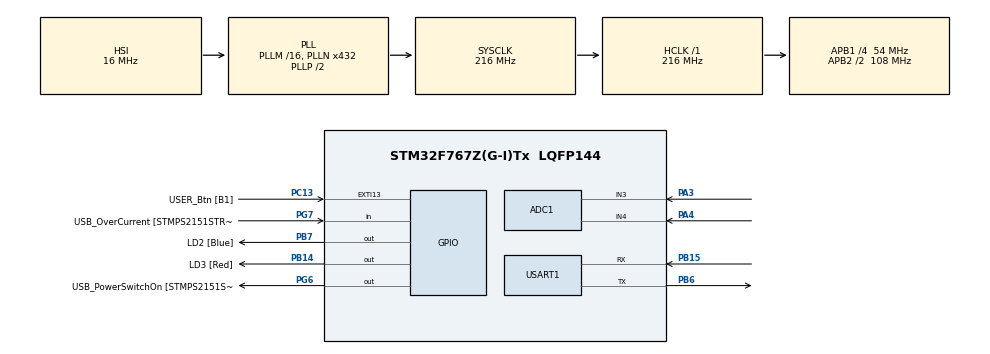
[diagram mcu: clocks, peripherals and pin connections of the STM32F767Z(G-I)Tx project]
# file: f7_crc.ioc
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ADC1.Channel-4\#ChannelRegularConversion=ADC_CHANNEL_3
ADC1.Channel-5\#ChannelRegularConversion=ADC_CHANNEL_4
ADC1.ClockPrescaler=ADC_CLOCK_SYNC_PCLK_DIV8
ADC1.ContinuousConvMode=ENABLE
ADC1.DMAContinuousRequests=ENABLE
ADC1.NbrOfConversion=2
ADC1.NbrOfConversionFlag=1
ADC1.Rank-4\#ChannelRegularConversion=1
ADC1.Rank-5\#ChannelRegularConversion=2
ADC1.SamplingTime-4\#ChannelRegularConversion=ADC_SAMPLETIME_480CYCLES
ADC1.SamplingTime-5\#ChannelRegularConversion=ADC_SAMPLETIME_480CYCLES
ADC1.ScanConvMode=ENABLE
ADC1.master=1
CRC.CRCLength=CRC_POLYLENGTH_8B
CRC.DefaultInitValueUse=DEFAULT_INIT_VALUE_DISABLE
CRC.DefaultPolynomialUse=DEFAULT_POLYNOMIAL_DISABLE
CRC.GeneratingPolynomial=X5+X3+X2+X1+X0
CRC.InitValue=0
Dma.ADC1.0.Direction=DMA_PERIPH_TO_MEMORY
Dma.ADC1.0.FIFOMode=DMA_FIFOMODE_DISABLE
Dma.ADC1.0.Instance=DMA2_Stream0
Dma.ADC1.0.MemDataAlignment=DMA_MDATAALIGN_HALFWORD
Dma.ADC1.0.MemInc=DMA_MINC_ENABLE
Dma.ADC1.0.Mode=DMA_CIRCULAR
Dma.ADC1.0.PeriphDataAlignment=DMA_PDATAALIGN_HALFWORD
Dma.ADC1.0.PeriphInc=DMA_PINC_DISABLE
Dma.ADC1.0.Priority=DMA_PRIORITY_LOW
Dma.Request0=ADC1
Mcu.Family=STM32F7
Mcu.Name=STM32F767Z(G-I)Tx
Mcu.Package=LQFP144
NVIC.DMA2_Stream0_IRQn=true\:0\:0\:false\:false\:true\:true
NVIC.PriorityGroup=NVIC_PRIORITYGROUP_4
NVIC.USART1_IRQn=true\:0\:0\:false\:false\:true\:true
PA1.GPIO_Label=RMII_REF_CLK [LAN8742A-CZ-TR_REFCLK0]
PA1.Signal=ETH_REF_CLK
PA10.GPIO_Label=USB_ID
PA10.Signal=USB_OTG_FS_ID
PA11.GPIO_Label=USB_DM
PA11.Signal=USB_OTG_FS_DM
PA12.GPIO_Label=USB_DP
PA12.Signal=USB_OTG_FS_DP
PA13.GPIO_Label=TMS
PA13.Signal=SYS_JTMS-SWDIO
PA14.GPIO_Label=TCK
PA14.Signal=SYS_JTCK-SWCLK
PA2.GPIO_Label=RMII_MDIO [LAN8742A-CZ-TR_MDIO]
PA2.Signal=ETH_MDIO
PA3.Signal=ADCx_IN3
PA4.Signal=ADCx_IN4
PA7.GPIO_Label=RMII_CRS_DV [LAN8742A-CZ-TR_CRS_DV]
PA7.Signal=ETH_CRS_DV
PA8.GPIO_Label=USB_SOF [TP1]
PA8.Signal=USB_OTG_FS_SOF
PA9.GPIO_Label=USB_VBUS
PA9.Signal=USB_OTG_FS_VBUS
PB13.GPIO_Label=RMII_TXD1 [LAN8742A-CZ-TR_TXD1]
PB13.Signal=ETH_TXD1
PB14.GPIO_Label=LD3 [Red]
PB14.Signal=GPIO_Output
PB15.Mode=Asynchronous
PB15.Signal=USART1_RX
PB3.GPIO_Label=SW0
PB3.Signal=SYS_JTDO-SWO
PB6.Mode=Asynchronous
PB6.Signal=USART1_TX
PB7.GPIO_Label=LD2 [Blue]
PB7.Signal=GPIO_Output
PC1.GPIO_Label=RMII_MDC [LAN8742A-CZ-TR_MDC]
PC1.Signal=ETH_MDC
PC13.GPIO_Label=USER_Btn [B1]
PC13.Signal=GPXTI13
PC14/OSC32_IN.Signal=RCC_OSC32_IN
PC15/OSC32_OUT.Signal=RCC_OSC32_OUT
PC4.GPIO_Label=RMII_RXD0 [LAN8742A-CZ-TR_RXD0]
PC4.Signal=ETH_RXD0
PC5.GPIO_Label=RMII_RXD1 [LAN8742A-CZ-TR_RXD1]
PC5.Signal=ETH_RXD1
PD8.GPIO_Label=STLK_RX [STM32F103CBT6_PA3]
PD8.Signal=USART3_TX
PD9.GPIO_Label=STLK_TX [STM32F103CBT6_PA2]
PD9.Signal=USART3_RX
PG11.GPIO_Label=RMII_TX_EN [LAN8742A-CZ-TR_TXEN]
PG11.Signal=ETH_TX_EN
PG13.GPIO_Label=RMII_TXD0 [LAN8742A-CZ-TR_TXD0]
PG13.Signal=ETH_TXD0
PG6.GPIO_Label=USB_PowerSwitchOn [STMPS2151STR_EN]
PG6.Signal=GPIO_Output
PG7.GPIO_Label=USB_OverCurrent [STMPS2151STR_FAULT]
PG7.Signal=GPIO_Input
PH0/OSC_IN.GPIO_Label=MCO [STM32F103CBT6_PA8]
PH0/OSC_IN.Signal=RCC_OSC_IN
PH1/OSC_OUT.Signal=RCC_OSC_OUT
ProjectManager.HeapSize=0x200
ProjectManager.StackSize=0x400
ProjectManager.TargetToolchain=SW4STM32
RCC.48MHZClocksFreq_Value=24000000
RCC.AHBFreq_Value=216000000
RCC.APB1CLKDivider=RCC_HCLK_DIV4
RCC.APB1Freq_Value=54000000
RCC.APB1TimFreq_Value=108000000
RCC.APB2CLKDivider=RCC_HCLK_DIV2
RCC.APB2Freq_Value=108000000
RCC.APB2TimFreq_Value=216000000
RCC.CortexFreq_Value=216000000
RCC.HCLKFreq_Value=216000000
RCC.HSE_VALUE=16000000
RCC.HSI_VALUE=16000000
RCC.LSE_VALUE=32768
RCC.PLLMUL=RCC_PLL_MUL9
RCC.PLLN=432
RCC.PRESCALERUSB=RCC_USBCLKSOURCE_PLL_DIV1_5
RCC.SYSCLKFreq_VALUE=216000000
RCC.SYSCLKSource=RCC_SYSCLKSOURCE_PLLCLK
RCC.SYSCLKSourceVirtual=RCC_SYSCLKSOURCE_PLLCLK
RCC.USBFreq_Value=216000000
RCC.VCOOutputFreq_Value=432000000
SH.ADCx_IN3.0=ADC1_IN3,IN3
SH.ADCx_IN4.0=ADC1_IN4,IN4
USART1.VirtualMode-Asynchronous=VM_ASYNC
USART1.WordLength=WORDLENGTH_8B
VP_CRC_VS_CRC.Mode=CRC_Activate
board=NUCLEO-F767ZI

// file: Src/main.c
/**
  ******************************************************************************
  * File Name          : main.c
  * Description        : Main program body
  ******************************************************************************
  ** This notice applies to any and all portions of this file
  * that are not between comment pairs USER CODE BEGIN and
  * USER CODE END. Other portions of this file, whether
  * inserted by the user or by software development tools
  * are owned by their respective copyright owners.
  *
  * COPYRIGHT(c) 2017 STMicroelectronics
  *
  * Redistribution and use in source and binary forms, with or without modification,
  * are permitted provided that the following conditions are met:
  *   1. Redistributions of source code must retain the above copyright notice,
  *      this list of conditions and the following disclaimer.
  *   2. Redistributions in binary form must reproduce the above copyright notice,
  *      this list of conditions and the following disclaimer in the documentation
  *      and/or other materials provided with the distribution.
  *   3. Neither the name of STMicroelectronics nor the names of its contributors
  *      may be used to endorse or promote products derived from this software
  *      without specific prior written permission.
  *
  * THIS SOFTWARE IS PROVIDED BY THE COPYRIGHT HOLDERS AND CONTRIBUTORS "AS IS"
  * AND ANY EXPRESS OR IMPLIED WARRANTIES, INCLUDING, BUT NOT LIMITED TO, THE
  * IMPLIED WARRANTIES OF MERCHANTABILITY AND FITNESS FOR A PARTICULAR PURPOSE ARE
  * DISCLAIMED. IN NO EVENT SHALL THE COPYRIGHT HOLDER OR CONTRIBUTORS BE LIABLE
  * FOR ANY DIRECT, INDIRECT, INCIDENTAL, SPECIAL, EXEMPLARY, OR CONSEQUENTIAL
  * DAMAGES (INCLUDING, BUT NOT LIMITED TO, PROCUREMENT OF SUBSTITUTE GOODS OR
  * SERVICES; LOSS OF USE, DATA, OR PROFITS; OR BUSINESS INTERRUPTION) HOWEVER
  * CAUSED AND ON ANY THEORY OF LIABILITY, WHETHER IN CONTRACT, STRICT LIABILITY,
  * OR TORT (INCLUDING NEGLIGENCE OR OTHERWISE) ARISING IN ANY WAY OUT OF THE USE
  * OF THIS SOFTWARE, EVEN IF ADVISED OF THE POSSIBILITY OF SUCH DAMAGE.
  *
  ******************************************************************************
  */
#include "main.h"
#include "stm32f7xx_hal.h"

ADC_HandleTypeDef hadc1;
DMA_HandleTypeDef hdma_adc1;

CRC_HandleTypeDef hcrc;

UART_HandleTypeDef huart1;

/* USER CODE BEGIN PV */
/* Private variables ---------------------------------------------------------*/

uint8_t RX_cmd[10], TX_cmd[10];
uint16_t adc_data[2];

/* USER CODE END PV */

void SystemClock_Config(void);
static void MX_GPIO_Init(void);
static void MX_DMA_Init(void);
static void MX_CRC_Init(void);
static void MX_USART1_UART_Init(void);
static void MX_ADC1_Init(void);

/* USER CODE BEGIN PFP */
/* Private function prototypes -----------------------------------------------*/
void HAL_UART_RxCpltCallback(UART_HandleTypeDef *huart) {
	if (huart == &huart1) {
//		if (RX_cmd == '#') {
//			TX_cmd[0] = 1;
//			TX_cmd[1] = (uint8_t) (adc_data[0]);
//			TX_cmd[2] = (uint8_t) (adc_data[0] >> 8);
//			TX_cmd[3] = (uint8_t) (adc_data[1]);
//			TX_cmd[4] = (uint8_t) (adc_data[1] >> 8);
//			crc = HAL_CRC_Calculate(&hcrc, (uint32_t*)TX_cmd, 5);
//			TX_cmd[5] = (uint8_t) crc;
//			HAL_UART_Transmit_IT(&huart1, TX_cmd, 6);
//		}
//		HAL_UART_Receive_IT(&huart1, &RX_cmd, 1);

		switch (RX_cmd[0]) {
		case 1: //DebugSteeringSystem
			TX_cmd[0] = 1;
			TX_cmd[1] = (uint8_t) (adc_data[0]);
			TX_cmd[2] = (uint8_t) (adc_data[0] >> 8);
			TX_cmd[3] = (uint8_t) (adc_data[1]);
			TX_cmd[4] = (uint8_t) (adc_data[1] >> 8);
			TX_cmd[5] = HAL_CRC_Calculate(&hcrc, (uint32_t*)TX_cmd, 5); //CRC
			HAL_UART_Transmit_IT(&huart1, TX_cmd, 6);
			break;
		case 2: //DebugSpeed
			TX_cmd[0] = 2;
			TX_cmd[1] = (uint8_t) (adc_data[0]);
			TX_cmd[2] = (uint8_t) (adc_data[0] >> 8);
			TX_cmd[3] = (uint8_t) (adc_data[1]);
			TX_cmd[4] = (uint8_t) (adc_data[1] >> 8);
			TX_cmd[5] = HAL_CRC_Calculate(&hcrc, (uint32_t*)TX_cmd, 5); //CRC
			HAL_UART_Transmit_IT(&huart1, TX_cmd, 6);
			break;
		case 3: //DebugEncodersBrakesIndicators
			TX_cmd[0] = 3;
			TX_cmd[1] = (uint8_t) (adc_data[0]);
			TX_cmd[2] = (uint8_t) (adc_data[0] >> 8);
			TX_cmd[3] = (uint8_t) (adc_data[1]);
			TX_cmd[4] = (uint8_t) (adc_data[1] >> 8);
			TX_cmd[5] = (uint8_t) (adc_data[0] & 0b00000011);
			TX_cmd[6] = HAL_CRC_Calculate(&hcrc, (uint32_t*)TX_cmd, 6); //CRC
			HAL_UART_Transmit_IT(&huart1, TX_cmd, 7);
			break;
		case 4:
			// receive control from ROS
			// CRC check, if data not valid reject
			if (HAL_CRC_Calculate(&hcrc, (uint32_t*)TX_cmd, 7) != RX_cmd[8])
				break;
//			steering_wheel = RX_cmd[1] + (RX_cmd[2] << 8);
//			speed = RX_cmd[3] + (RX_cmd[4] << 8);
//			brake_value = RX_cmd[5] + (RX_cmd[6] << 8);
//			gas_cut_off = RX_cmd[7] >> 0;
//			dir = RX_cmd[7] >> 1;
			break;
		}
		HAL_UART_Receive_IT(&huart1, RX_cmd, 9);

	}
}
/* USER CODE END PFP */

int main(void)
{

  /* MCU Configuration----------------------------------------------------------*/

  /* Reset of all peripherals, Initializes the Flash interface and the Systick. */
  HAL_Init();

  /* Configure the system clock */
  SystemClock_Config();

  /* Initialize all configured peripherals */
  MX_GPIO_Init();
  MX_DMA_Init();
  MX_CRC_Init();
  MX_USART1_UART_Init();
  MX_ADC1_Init();

  /* USER CODE BEGIN 2 */

	HAL_ADC_Start_DMA(&hadc1, (uint32_t*)adc_data, 2);
	HAL_UART_Receive_IT(&huart1, RX_cmd, 9);

  /* USER CODE END 2 */

  /* Infinite loop */
  /* USER CODE BEGIN WHILE */
	while (1) {
//		HAL_UART_Transmit_DMA(&huart1, tab, 6);
//		a32 = HAL_CRC_Calculate(&hcrc, (uint32_t*) tab, 6);
//		a16 = HAL_CRC_Calculate(&hcrc, (uint32_t*) tab, 6);
//		a8 = HAL_CRC_Calculate(&hcrc, (uint32_t*) tab, 6);
  /* USER CODE END WHILE */

	}

}

/** System Clock Configuration
*/
void SystemClock_Config(void)
{

  RCC_OscInitTypeDef RCC_OscInitStruct;
  RCC_ClkInitTypeDef RCC_ClkInitStruct;
  RCC_PeriphCLKInitTypeDef PeriphClkInitStruct;

    /**Configure the main internal regulator output voltage
    */
  __HAL_RCC_PWR_CLK_ENABLE();

  __HAL_PWR_VOLTAGESCALING_CONFIG(PWR_REGULATOR_VOLTAGE_SCALE1);

    /**Initializes the CPU, AHB and APB busses clocks
    */
  RCC_OscInitStruct.OscillatorType = RCC_OSCILLATORTYPE_HSI;
  RCC_OscInitStruct.HSIState = RCC_HSI_ON;
  RCC_OscInitStruct.HSICalibrationValue = 16;
  RCC_OscInitStruct.PLL.PLLState = RCC_PLL_ON;
  RCC_OscInitStruct.PLL.PLLSource = RCC_PLLSOURCE_HSI;
  RCC_OscInitStruct.PLL.PLLM = 16;
  RCC_OscInitStruct.PLL.PLLN = 432;
  RCC_OscInitStruct.PLL.PLLP = RCC_PLLP_DIV2;
  RCC_OscInitStruct.PLL.PLLQ = 2;
  if (HAL_RCC_OscConfig(&RCC_OscInitStruct) != HAL_OK)
  {
    _Error_Handler(__FILE__, __LINE__);
  }

    /**Activate the Over-Drive mode
    */
  if (HAL_PWREx_EnableOverDrive() != HAL_OK)
  {
    _Error_Handler(__FILE__, __LINE__);
  }

    /**Initializes the CPU, AHB and APB busses clocks
    */
  RCC_ClkInitStruct.ClockType = RCC_CLOCKTYPE_HCLK|RCC_CLOCKTYPE_SYSCLK
                              |RCC_CLOCKTYPE_PCLK1|RCC_CLOCKTYPE_PCLK2;
  RCC_ClkInitStruct.SYSCLKSource = RCC_SYSCLKSOURCE_PLLCLK;
  RCC_ClkInitStruct.AHBCLKDivider = RCC_SYSCLK_DIV1;
  RCC_ClkInitStruct.APB1CLKDivider = RCC_HCLK_DIV4;
  RCC_ClkInitStruct.APB2CLKDivider = RCC_HCLK_DIV2;

  if (HAL_RCC_ClockConfig(&RCC_ClkInitStruct, FLASH_LATENCY_7) != HAL_OK)
  {
    _Error_Handler(__FILE__, __LINE__);
  }

  PeriphClkInitStruct.PeriphClockSelection = RCC_PERIPHCLK_USART1;
  PeriphClkInitStruct.Usart1ClockSelection = RCC_USART1CLKSOURCE_PCLK2;
  if (HAL_RCCEx_PeriphCLKConfig(&PeriphClkInitStruct) != HAL_OK)
  {
    _Error_Handler(__FILE__, __LINE__);
  }

    /**Configure the Systick interrupt time
    */
  HAL_SYSTICK_Config(HAL_RCC_GetHCLKFreq()/1000);

    /**Configure the Systick
    */
  HAL_SYSTICK_CLKSourceConfig(SYSTICK_CLKSOURCE_HCLK);

  /* SysTick_IRQn interrupt configuration */
  HAL_NVIC_SetPriority(SysTick_IRQn, 0, 0);
}

/* ADC1 init function */
static void MX_ADC1_Init(void)
{

  ADC_ChannelConfTypeDef sConfig;

    /**Configure the global features of the ADC (Clock, Resolution, Data Alignment and number of conversion)
    */
  hadc1.Instance = ADC1;
  hadc1.Init.ClockPrescaler = ADC_CLOCK_SYNC_PCLK_DIV8;
  hadc1.Init.Resolution = ADC_RESOLUTION_12B;
  hadc1.Init.ScanConvMode = ENABLE;
  hadc1.Init.ContinuousConvMode = ENABLE;
  hadc1.Init.DiscontinuousConvMode = DISABLE;
  hadc1.Init.ExternalTrigConvEdge = ADC_EXTERNALTRIGCONVEDGE_NONE;
  hadc1.Init.ExternalTrigConv = ADC_SOFTWARE_START;
  hadc1.Init.DataAlign = ADC_DATAALIGN_RIGHT;
  hadc1.Init.NbrOfConversion = 2;
  hadc1.Init.DMAContinuousRequests = ENABLE;
  hadc1.Init.EOCSelection = ADC_EOC_SINGLE_CONV;
  if (HAL_ADC_Init(&hadc1) != HAL_OK)
  {
    _Error_Handler(__FILE__, __LINE__);
  }

    /**Configure for the selected ADC regular channel its corresponding rank in the sequencer and its sample time.
    */
  sConfig.Channel = ADC_CHANNEL_3;
  sConfig.Rank = 1;
  sConfig.SamplingTime = ADC_SAMPLETIME_480CYCLES;
  if (HAL_ADC_ConfigChannel(&hadc1, &sConfig) != HAL_OK)
  {
    _Error_Handler(__FILE__, __LINE__);
  }

    /**Configure for the selected ADC regular channel its corresponding rank in the sequencer and its sample time.
    */
  sConfig.Channel = ADC_CHANNEL_4;
  sConfig.Rank = 2;
  if (HAL_ADC_ConfigChannel(&hadc1, &sConfig) != HAL_OK)
  {
    _Error_Handler(__FILE__, __LINE__);
  }

}

/* CRC init function */
static void MX_CRC_Init(void)
{

  hcrc.Instance = CRC;
  hcrc.Init.DefaultPolynomialUse = DEFAULT_POLYNOMIAL_DISABLE;
  hcrc.Init.DefaultInitValueUse = DEFAULT_INIT_VALUE_DISABLE;
  hcrc.Init.GeneratingPolynomial = 47;
  hcrc.Init.CRCLength = CRC_POLYLENGTH_8B;
  hcrc.Init.InitValue = 0;
  hcrc.Init.InputDataInversionMode = CRC_INPUTDATA_INVERSION_NONE;
  hcrc.Init.OutputDataInversionMode = CRC_OUTPUTDATA_INVERSION_DISABLE;
  hcrc.InputDataFormat = CRC_INPUTDATA_FORMAT_BYTES;
  if (HAL_CRC_Init(&hcrc) != HAL_OK)
  {
    _Error_Handler(__FILE__, __LINE__);
  }

}

/* USART1 init function */
static void MX_USART1_UART_Init(void)
{

  huart1.Instance = USART1;
  huart1.Init.BaudRate = 115200;
  huart1.Init.WordLength = UART_WORDLENGTH_8B;
  huart1.Init.StopBits = UART_STOPBITS_1;
  huart1.Init.Parity = UART_PARITY_NONE;
  huart1.Init.Mode = UART_MODE_TX_RX;
  huart1.Init.HwFlowCtl = UART_HWCONTROL_NONE;
  huart1.Init.OverSampling = UART_OVERSAMPLING_16;
  huart1.Init.OneBitSampling = UART_ONE_BIT_SAMPLE_DISABLE;
  huart1.AdvancedInit.AdvFeatureInit = UART_ADVFEATURE_NO_INIT;
  if (HAL_UART_Init(&huart1) != HAL_OK)
  {
    _Error_Handler(__FILE__, __LINE__);
  }

}

static void MX_DMA_Init(void)
{
  /* DMA controller clock enable */
  __HAL_RCC_DMA2_CLK_ENABLE();

  /* DMA interrupt init */
  /* DMA2_Stream0_IRQn interrupt configuration */
  HAL_NVIC_SetPriority(DMA2_Stream0_IRQn, 0, 0);
  HAL_NVIC_EnableIRQ(DMA2_Stream0_IRQn);

}

/** Configure pins as
        * Analog
        * Input
        * Output
        * EVENT_OUT
        * EXTI
     PC1   ------> ETH_MDC
     PA1   ------> ETH_REF_CLK
     PA2   ------> ETH_MDIO
     PA7   ------> ETH_CRS_DV
     PC4   ------> ETH_RXD0
     PC5   ------> ETH_RXD1
     PB13   ------> ETH_TXD1
     PD8   ------> USART3_TX
     PD9   ------> USART3_RX
     PA8   ------> USB_OTG_FS_SOF
     PA9   ------> USB_OTG_FS_VBUS
     PA10   ------> USB_OTG_FS_ID
     PA11   ------> USB_OTG_FS_DM
     PA12   ------> USB_OTG_FS_DP
     PG11   ------> ETH_TX_EN
     PG13   ------> ETH_TXD0
*/
static void MX_GPIO_Init(void)
{

  GPIO_InitTypeDef GPIO_InitStruct;

  /* GPIO Ports Clock Enable */
  __HAL_RCC_GPIOC_CLK_ENABLE();
  __HAL_RCC_GPIOH_CLK_ENABLE();
  __HAL_RCC_GPIOA_CLK_ENABLE();
  __HAL_RCC_GPIOB_CLK_ENABLE();
  __HAL_RCC_GPIOD_CLK_ENABLE();
  __HAL_RCC_GPIOG_CLK_ENABLE();

  /*Configure GPIO pin Output Level */
  HAL_GPIO_WritePin(GPIOB, LD3_Pin|LD2_Pin, GPIO_PIN_RESET);

  /*Configure GPIO pin Output Level */
  HAL_GPIO_WritePin(USB_PowerSwitchOn_GPIO_Port, USB_PowerSwitchOn_Pin, GPIO_PIN_RESET);

  /*Configure GPIO pin : USER_Btn_Pin */
  GPIO_InitStruct.Pin = USER_Btn_Pin;
  GPIO_InitStruct.Mode = GPIO_MODE_IT_RISING;
  GPIO_InitStruct.Pull = GPIO_NOPULL;
  HAL_GPIO_Init(USER_Btn_GPIO_Port, &GPIO_InitStruct);

  /*Configure GPIO pins : RMII_MDC_Pin RMII_RXD0_Pin RMII_RXD1_Pin */
  GPIO_InitStruct.Pin = RMII_MDC_Pin|RMII_RXD0_Pin|RMII_RXD1_Pin;
  GPIO_InitStruct.Mode = GPIO_MODE_AF_PP;
  GPIO_InitStruct.Pull = GPIO_NOPULL;
  GPIO_InitStruct.Speed = GPIO_SPEED_FREQ_VERY_HIGH;
  GPIO_InitStruct.Alternate = GPIO_AF11_ETH;
  HAL_GPIO_Init(GPIOC, &GPIO_InitStruct);

  /*Configure GPIO pins : RMII_REF_CLK_Pin RMII_MDIO_Pin RMII_CRS_DV_Pin */
  GPIO_InitStruct.Pin = RMII_REF_CLK_Pin|RMII_MDIO_Pin|RMII_CRS_DV_Pin;
  GPIO_InitStruct.Mode = GPIO_MODE_AF_PP;
  GPIO_InitStruct.Pull = GPIO_NOPULL;
  GPIO_InitStruct.Speed = GPIO_SPEED_FREQ_VERY_HIGH;
  GPIO_InitStruct.Alternate = GPIO_AF11_ETH;
  HAL_GPIO_Init(GPIOA, &GPIO_InitStruct);

  /*Configure GPIO pin : RMII_TXD1_Pin */
  GPIO_InitStruct.Pin = RMII_TXD1_Pin;
  GPIO_InitStruct.Mode = GPIO_MODE_AF_PP;
  GPIO_InitStruct.Pull = GPIO_NOPULL;
  GPIO_InitStruct.Speed = GPIO_SPEED_FREQ_VERY_HIGH;
  GPIO_InitStruct.Alternate = GPIO_AF11_ETH;
  HAL_GPIO_Init(RMII_TXD1_GPIO_Port, &GPIO_InitStruct);

  /*Configure GPIO pins : LD3_Pin LD2_Pin */
  GPIO_InitStruct.Pin = LD3_Pin|LD2_Pin;
  GPIO_InitStruct.Mode = GPIO_MODE_OUTPUT_PP;
  GPIO_InitStruct.Pull = GPIO_NOPULL;
  GPIO_InitStruct.Speed = GPIO_SPEED_FREQ_LOW;
  HAL_GPIO_Init(GPIOB, &GPIO_InitStruct);

  /*Configure GPIO pins : STLK_RX_Pin STLK_TX_Pin */
  GPIO_InitStruct.Pin = STLK_RX_Pin|STLK_TX_Pin;
  GPIO_InitStruct.Mode = GPIO_MODE_AF_PP;
  GPIO_InitStruct.Pull = GPIO_NOPULL;
  GPIO_InitStruct.Speed = GPIO_SPEED_FREQ_VERY_HIGH;
  GPIO_InitStruct.Alternate = GPIO_AF7_USART3;
  HAL_GPIO_Init(GPIOD, &GPIO_InitStruct);

  /*Configure GPIO pin : USB_PowerSwitchOn_Pin */
  GPIO_InitStruct.Pin = USB_PowerSwitchOn_Pin;
  GPIO_InitStruct.Mode = GPIO_MODE_OUTPUT_PP;
  GPIO_InitStruct.Pull = GPIO_NOPULL;
  GPIO_InitStruct.Speed = GPIO_SPEED_FREQ_LOW;
  HAL_GPIO_Init(USB_PowerSwitchOn_GPIO_Port, &GPIO_InitStruct);

  /*Configure GPIO pin : USB_OverCurrent_Pin */
  GPIO_InitStruct.Pin = USB_OverCurrent_Pin;
  GPIO_InitStruct.Mode = GPIO_MODE_INPUT;
  GPIO_InitStruct.Pull = GPIO_NOPULL;
  HAL_GPIO_Init(USB_OverCurrent_GPIO_Port, &GPIO_InitStruct);

  /*Configure GPIO pins : USB_SOF_Pin USB_ID_Pin USB_DM_Pin USB_DP_Pin */
  GPIO_InitStruct.Pin = USB_SOF_Pin|USB_ID_Pin|USB_DM_Pin|USB_DP_Pin;
  GPIO_InitStruct.Mode = GPIO_MODE_AF_PP;
  GPIO_InitStruct.Pull = GPIO_NOPULL;
  GPIO_InitStruct.Speed = GPIO_SPEED_FREQ_VERY_HIGH;
  GPIO_InitStruct.Alternate = GPIO_AF10_OTG_FS;
  HAL_GPIO_Init(GPIOA, &GPIO_InitStruct);

  /*Configure GPIO pin : USB_VBUS_Pin */
  GPIO_InitStruct.Pin = USB_VBUS_Pin;
  GPIO_InitStruct.Mode = GPIO_MODE_INPUT;
  GPIO_InitStruct.Pull = GPIO_NOPULL;
  HAL_GPIO_Init(USB_VBUS_GPIO_Port, &GPIO_InitStruct);

  /*Configure GPIO pins : RMII_TX_EN_Pin RMII_TXD0_Pin */
  GPIO_InitStruct.Pin = RMII_TX_EN_Pin|RMII_TXD0_Pin;
  GPIO_InitStruct.Mode = GPIO_MODE_AF_PP;
  GPIO_InitStruct.Pull = GPIO_NOPULL;
  GPIO_InitStruct.Speed = GPIO_SPEED_FREQ_VERY_HIGH;
  GPIO_InitStruct.Alternate = GPIO_AF11_ETH;
  HAL_GPIO_Init(GPIOG, &GPIO_InitStruct);

}

void _Error_Handler(char * file, int line)
{
	while (1) {
	}
}

/************************ (C) COPYRIGHT STMicroelectronics *****END OF FILE****/
